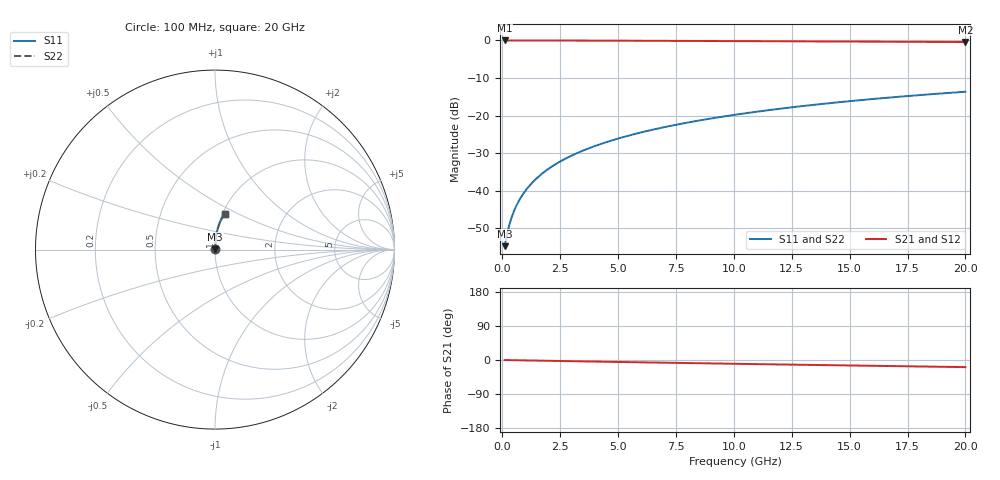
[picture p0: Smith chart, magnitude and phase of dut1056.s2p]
! Touchstone file exported from HFSS 2024.1.0
!  File:  C:/UserFiles/LocalFiles/RDL_TSV_Batchsim/temp_RDL_top_1056_1780044650.aedt
!  Generated:  04:53:05 PM May 29, 2026
!  Design:  RDL_top
!  Project:  temp_RDL_top_1056_1780044650
!  Setup:  Setup1
!  Solution:  Sweep
! Variables:
!  dtsv = 10.80580581um
!  hbump = 3um
!  htsv = 79.47um
!  ldown = 100um
!  lrdl = 241.11um
!  p = 40
!  p1 = 43.16um
!  rhole = 1um
!  t = 450um
!  tdown = 3.915915916um
!  trdl = 3.65um
!  wdown = 15.38538539um
!  wrdl = 17.68um
# GHz S MA R 50.000000
! Terminal data exported
! Port[1] = Box2_T1
! Port[2] = Box2_T2
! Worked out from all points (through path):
!   200 points, 100 MHz to 20 GHz, reference 50 ohm
!   highest |S21| = -0.01 dB at 100 MHz (marker M1); lowest = -0.4 dB at 20 GHz (marker M2)
!   group delay of S21, straight-line fit = 2.6 ps
!   lowest |S11| = -54.7 dB at 100 MHz (marker M3), VSWR 1.00, Z = 50.2 + j0.105 ohm
!   |S11| at or under -10 dB: start of sweep to end of sweep
!   |S22| runs from -54.7 to -13.6 dB; largest |S21 - S12| = 3.5e-15
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0.1  0.001837 34.9  0.9985 -0.1  0.9985 -0.1  0.001837 34.9
! Gamma 0 0 0 0
! Port Impedance 50 0 50 0
0.2  0.002597 53.4  0.9984 -0.2  0.9984 -0.2  0.002597 53.4
0.3  0.003484 62.6  0.9984 -0.3  0.9984 -0.3  0.003484 62.7
0.4  0.004404 68.0  0.9983 -0.4  0.9983 -0.4  0.004405 68.0
0.5  0.005335 71.5  0.9982 -0.5  0.9982 -0.5  0.005335 71.5
0.6  0.006269 73.9  0.9982 -0.6  0.9982 -0.6  0.006269 73.9
0.8  0.008147 77.3  0.998 -0.9  0.998 -0.9  0.008147 77.3
1.1  0.01099 80.3  0.9979 -1.2  0.9979 -1.2  0.01099 80.3
1.3  0.0129 81.6  0.9977 -1.4  0.9977 -1.4  0.0129 81.6
1.6  0.01578 83.0  0.9975 -1.7  0.9975 -1.7  0.01578 83.0
2.1  0.02063 84.4  0.997 -2.2  0.997 -2.2  0.02063 84.4
2.7  0.0265 85.3  0.9962 -2.8  0.9962 -2.8  0.0265 85.3
3.5  0.03442 85.9  0.995 -3.7  0.995 -3.7  0.03442 85.9
4.2  0.04144 86.2  0.9937 -4.4  0.9937 -4.4  0.04144 86.2
5  0.04955 86.2  0.9921 -5.2  0.9921 -5.2  0.04955 86.2
5.9  0.0588 86.0  0.9901 -6.1  0.9901 -6.1  0.0588 86.0
6.8  0.06816 85.7  0.9879 -7.0  0.9879 -7.0  0.06816 85.7
8.3  0.08398 85.0  0.9841 -8.4  0.9841 -8.4  0.08398 85.0
10.1  0.1032 83.7  0.9794 -10.1  0.9794 -10.1  0.1032 83.7
13.4  0.1386 81.0  0.9704 -13.1  0.9704 -13.1  0.1386 81.0
16.7  0.1737 78.1  0.9612 -16.0  0.9612 -16.0  0.1737 78.1
20  0.2078 75.0  0.9516 -18.8  0.9516 -18.8  0.2078 75.0
